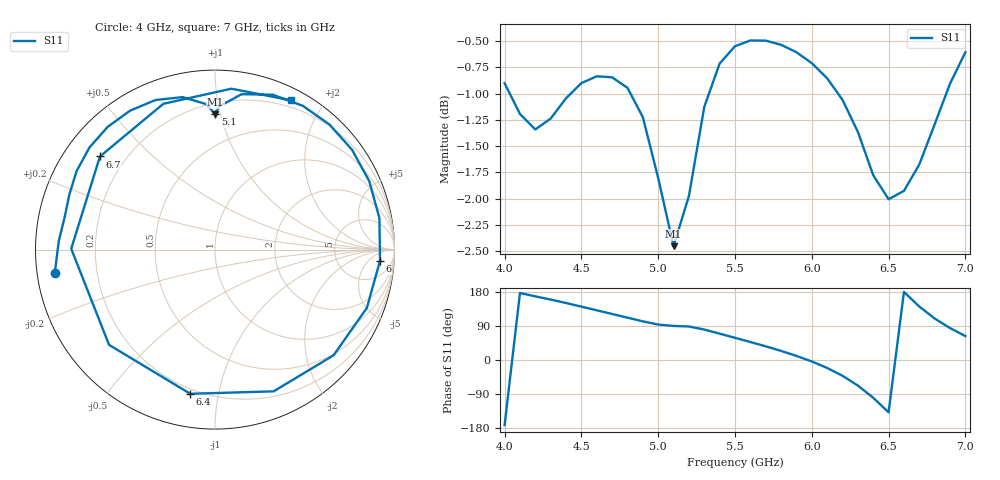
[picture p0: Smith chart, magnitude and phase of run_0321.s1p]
! Touchstone file exported from HFSS 2024.2.0
!  File:  C:/Users/wsak9/Desktop/Sim Fast/Widenad Patch/WP_AI_V1_sweep.aedt
!  Generated:  04:35:52 AM Oct 14, 2026
!  Design:  A1_model
!  Project:  WP_AI_V1_sweep
!  Setup:  Setup1
!  Solution:  Sweep
! Variables:
!  Air_gap = 3.72mm
!  Curve_Amp1 = 1.86
!  Curve_len1 = 1
!  Curve_pos = 12.33mm
!  Extra = 7.56mm
!  H_sub = 0.79mm
!  L_Patch = 20.66mm
!  L_Patch1 = 17.95mm
!  Sx = 2.2mm
!  Sy = 0.61mm
!  WS = 0.22mm
!  W_Patch = 20.06mm
!  W_Patch1 = 10.39mm
!Data is not renormalized
# GHz S MA
! Terminal data exported
! Port[1] = 1
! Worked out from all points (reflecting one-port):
!   31 points, 4 GHz to 7 GHz, reference per port
!   lowest |S11| = -2.5 dB at 5.1 GHz (marker M1), VSWR 7.13
!   phase of S11 starts at -172 deg and turns -485 deg over the sweep
!   S11 on the Smith chart (normalised r, x): 4 GHz: 0.05, -0.07; 5.1 GHz: 0.28, +0.96; 6 GHz: 14, -12; 6.4 GHz: 0.17, -0.83; 6.7 GHz: 0.11, +0.35; 7 GHz: 0.13, +1.62
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4  0.9014 -171.8
4.1  0.8716 176.8
4.4  0.8867 150.4
4.6  0.9083 131.1
4.7  0.9073 121.5
4.8  0.8969 111.7
4.9  0.8686 102.0
5  0.8124 93.5
5.1  0.754 89.9
5.2  0.7967 88.4
5.3  0.8784 80.3
5.4  0.9211 69.5
5.5  0.9388 58.6
5.6  0.9447 47.5
5.7  0.9446 36.1
5.8  0.9403 24.0
5.9  0.9326 10.8
6  0.9215 -3.9
6.1  0.9063 -21.0
6.2  0.8852 -41.7
6.3  0.8547 -67.5
6.4  0.815 -99.7
6.5  0.7938 -138.0
6.6  0.8011 179.7
6.7  0.8247 141.0
6.8  0.8618 109.5
6.9  0.9011 84.2
7  0.9326 63.2
